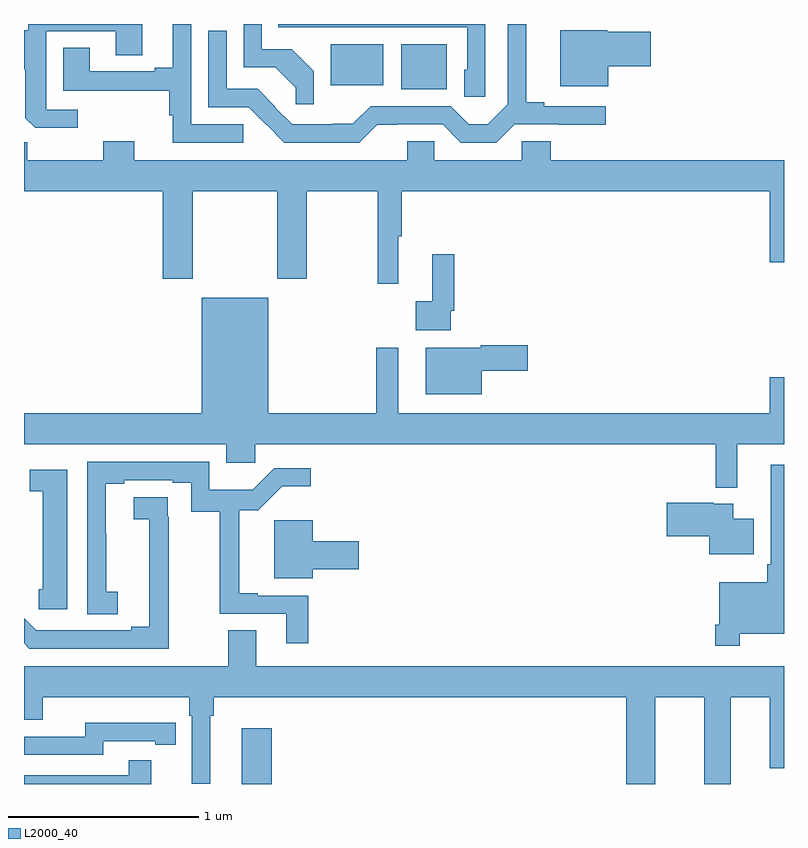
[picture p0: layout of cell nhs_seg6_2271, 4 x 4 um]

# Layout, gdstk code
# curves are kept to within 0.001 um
import gdstk
lib = gdstk.Library(unit=1e-6, precision=1e-09)
def R(c, l, rs):  # rectangles x0, y0, x1, y1
    for r in rs: c.add(gdstk.rectangle(r[:2], r[2:], *l))
def P(c, l, *ps):  # polygons
    for p in ps: c.add(gdstk.Polygon(p, *l))
L2000_40 = (2000, 40)

nhs_seg6_2271 = lib.new_cell('nhs_seg6_2271')
R(nhs_seg6_2271, L2000_40, [(246.146,993.5,246.305,993.793), (246.986,997.157,247.225,997.393), (246.614,997.178,246.892,997.393)])
P(nhs_seg6_2271, L2000_40, [(246.86,996.971),(247.203,996.972),(247.299,996.876),(247.486,996.876),(247.582,996.972),(248.062,996.971),(248.062,997.068),(247.738,997.068),(247.738,997.088),(247.643,997.088),(247.643,997.5),(247.545,997.5),(247.545,997.077),(247.441,996.973),(247.34,996.973),(247.245,997.068),(246.825,997.068),(246.731,996.974),(246.626,996.974),(246.626,996.972),(246.411,996.972),(246.321,997.062),(246.323,997.064),(246.229,997.158),(246.066,997.158),(246.066,997.465),(245.97,997.465),(245.97,997.062),(246.183,997.062),(246.371,996.876),(246.765,996.876)],
  [(246.153,996.972),(245.88,996.972),(245.88,997.5),(245.783,997.5),(245.783,997.271),(245.687,997.271),(245.687,997.251),(245.347,997.251),(245.347,997.376),(245.207,997.376),(245.207,997.15),(245.764,997.15),(245.764,997.019),(245.783,997.019),(245.783,996.876),(246.153,996.876)],
  [(247.428,997.5),(246.337,997.5),(246.337,997.482),(247.332,997.482),(247.332,997.26),(247.316,997.26),(247.316,997.117),(247.428,997.117)],
  [(245.284,997.05),(245.118,997.05),(245.118,997.461),(245.483,997.461),(245.483,997.336),(245.623,997.336),(245.623,997.5),(245.022,997.5),(245.022,997.468),(245.002,997.468),(245.002,997.376),(245,997.376),(245,997.263),(245.007,997.263),(245.007,997.005),(245.059,996.954),(245.284,996.954)],
  [(246.525,997.252),(246.409,997.368),(246.252,997.368),(246.252,997.5),(246.156,997.5),(246.156,997.272),(246.322,997.272),(246.43,997.164),(246.43,997.077),(246.525,997.077)],
  [(248.074,997.277),(248.299,997.277),(248.299,997.46),(248.07,997.46),(248.07,997.468),(247.823,997.468),(247.823,997.172),(248.074,997.172)],
  [(245.581,996.883),(245.417,996.883),(245.417,996.784),(245.017,996.784),(245.017,996.877),(245,996.877),(245,996.62),(245.729,996.62),(245.729,996.159),(245.889,996.159),(245.889,996.62),(246.334,996.62),(246.334,996.159),(246.489,996.159),(246.489,996.62),(246.861,996.62),(246.861,996.132),(246.971,996.132),(246.971,996.384),(246.989,996.384),(246.989,996.62),(248.924,996.62),(248.924,996.246),(249,996.246),(249,996.784),(247.772,996.784),(247.772,996.882),(247.62,996.882),(247.62,996.784),(247.158,996.784),(247.158,996.882),(247.016,996.882),(247.016,996.784),(245.581,996.784)],
  [(247.245,995.992),(247.265,995.992),(247.265,996.289),(247.148,996.289),(247.148,996.041),(247.062,996.041),(247.062,995.888),(247.245,995.888)],
  [(248.753,995.288),(249,995.288),(249,995.641),(248.924,995.641),(248.924,995.452),(246.97,995.452),(246.97,995.797),(246.853,995.797),(246.853,995.452),(246.286,995.452),(246.286,996.058),(245.936,996.058),(245.936,995.452),(245,995.452),(245,995.288),(246.065,995.288),(246.065,995.19),(246.217,995.19),(246.217,995.288),(248.64,995.288),(248.64,995.06),(248.753,995.06)],
  [(247.408,995.675),(247.651,995.675),(247.651,995.81),(247.404,995.81),(247.404,995.797),(247.115,995.797),(247.115,995.552),(247.408,995.552)],
  [(246.497,994.491),(246.229,994.491),(246.229,994.504),(246.134,994.504),(246.134,994.941),(246.233,994.941),(246.359,995.066),(246.508,995.066),(246.508,995.163),(246.318,995.163),(246.205,995.05),(245.976,995.05),(245.976,995.196),(245.334,995.196),(245.334,994.393),(245.494,994.393),(245.494,994.513),(245.433,994.513),(245.433,994.817),(245.431,994.817),(245.431,995.08),(245.527,995.08),(245.527,995.1),(245.783,995.1),(245.783,995.086),(245.88,995.086),(245.88,994.933),(246.031,994.933),(246.031,994.395),(246.38,994.395),(246.38,994.242),(246.497,994.242)],
  [(248.767,994.292),(249,994.292),(249,995.179),(248.931,995.179),(248.931,994.657),(248.911,994.657),(248.911,994.561),(248.658,994.561),(248.658,994.339),(248.638,994.339),(248.638,994.227),(248.767,994.227)],
  [(245.227,995.155),(245.031,995.155),(245.031,995.04),(245.099,995.04),(245.099,994.524),(245.077,994.524),(245.077,994.419),(245.227,994.419)],
  [(245.762,994.907),(245.756,994.907),(245.756,995.009),(245.577,995.009),(245.577,994.894),(245.659,994.894),(245.66,994.328),(245.564,994.328),(245.564,994.308),(245.064,994.308),(245,994.372),(245,994.24),(245.028,994.212),(245.762,994.212)],
  [(248.842,994.897),(248.734,994.897),(248.734,994.975),(248.63,994.975),(248.63,994.98),(248.382,994.98),(248.382,994.805),(248.606,994.805),(248.606,994.709),(248.842,994.709)],
  [(246.52,994.631),(246.763,994.631),(246.763,994.778),(246.52,994.778),(246.52,994.888),(246.317,994.888),(246.317,994.583),(246.52,994.583)],
  [(248.323,993.956),(248.579,993.956),(248.579,993.5),(248.719,993.5),(248.719,993.956),(248.924,993.956),(248.924,993.582),(249,993.582),(249,994.12),(246.223,994.12),(246.223,994.31),(246.076,994.31),(246.076,994.12),(245,994.12),(245,993.839),(245.098,993.839),(245.098,993.956),(245.87,993.956),(245.87,993.86),(245.883,993.86),(245.883,993.501),(245.98,993.501),(245.98,993.86),(245.999,993.86),(245.999,993.956),(248.171,993.956),(248.171,993.5),(248.323,993.5)],
  [(245.418,993.726),(245.69,993.726),(245.69,993.706),(245.798,993.706),(245.798,993.822),(245.69,993.822),(245.69,993.823),(245.322,993.823),(245.322,993.75),(245,993.75),(245,993.654),(245.418,993.654)],
  [(245.669,993.625),(245.551,993.625),(245.551,993.546),(245,993.546),(245,993.5),(245.669,993.5)])

lib.write_gds('nhs_seg6_2271.gds')
